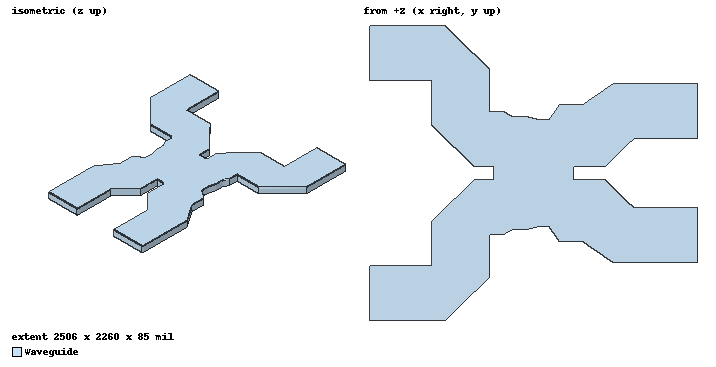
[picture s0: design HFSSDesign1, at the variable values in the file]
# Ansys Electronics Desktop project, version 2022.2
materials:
  vacuum: permittivity=1
  aluminum: permeability=1.000021 conductivity=38000000

design HFSSDesign1 (HFSS, DrivenModal, model units mil)
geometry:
  Waveguide [vacuum] = polyline(z=0mil, xy in mil: (0, 0) (0, -53) (-147, -53) (-474, -367) (-474, -710) (-944, -710) (-944, -1130) (-369, -1130) (-27, -792) (-27, -467) (83, -467) (146, -433) (255, -433) (337, -411) (427, -411) (506, -523) (682, -523) (915, -683) (1562, -683) (1562, -263) (1073, -263) (858, -53) (612, -53) (612, 0) (0, 0), closed, covered)
  Polyline1_1 = Waveguide.duplicate_mirror(point=(0mil, 0mil, 0mil), normal=(0mil, 1mil, 0mil))
  Waveguide.unite(Polyline1_1)
  Waveguide.sweep_along_vector((0mil, 0mil, 85mil))
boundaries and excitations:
  FiniteCond1: Finite Conductivity Faces=Waveguide.face(#534, #533, #532, #531, #530, #529, #528, #536, #537, #538, #539, #540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) UseMaterial Material=aluminum IsInternal
  FiniteCond2: Finite Conductivity Faces=Waveguide.face(at (309, -565, 0)) UseMaterial Material=aluminum IsInternal
  Sym1: Symmetry Faces=Waveguide.face(#554) IsPerfectE=true
  1: Wave Port Faces=Waveguide.face(#548) NumModes=1 Modes{Mode1{CharImp=Zpi}}
  WavePort2: Wave Port Faces=Waveguide.face(#535) NumModes=1 Modes{Mode1{IntLine{(1562, -473, 0) -> (1562, -473, 85)} CharImp=Zpi}}
  WavePort3: Wave Port Faces=Waveguide.face(#514) NumModes=1 Modes{Mode1{CharImp=Zpi}}
  WavePort4: Wave Port Faces=Waveguide.face(#527) NumModes=1 Modes{Mode1{IntLine{(1562, 473, 0) -> (1562, 473, 85)} CharImp=Zpi}}
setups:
  Setup1: HfssDriven Frequency=20GHz MaxDeltaS=0.001 MaximumPasses=15 MinimumPasses=1 MinimumConvergedPasses=1 PercentRefinement=30 BasisOrder=1 PortAccuracy=2 DrivenSolverType="Direct Solver"
    sweep Sweep: 19.5GHz to 20.4GHz step 0.05GHz; Type=Discrete
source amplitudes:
  1:1, WavePort3:1: 0W 0deg
  WavePort2:1: 1W 0deg
  WavePort4:1: 1W 180deg
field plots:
  Mag_E1: E Field over Waveguide.face(#554) on Setup1 : LastAdaptive at Freq=20GHz Phase=0deg
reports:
  S Parameter Plot 1: dB(S(1,1)), dB(S(1,WavePort2)), dB(S(1,WavePort3)), dB(S(1,WavePort4)) vs Freq on Setup1 : Sweep
